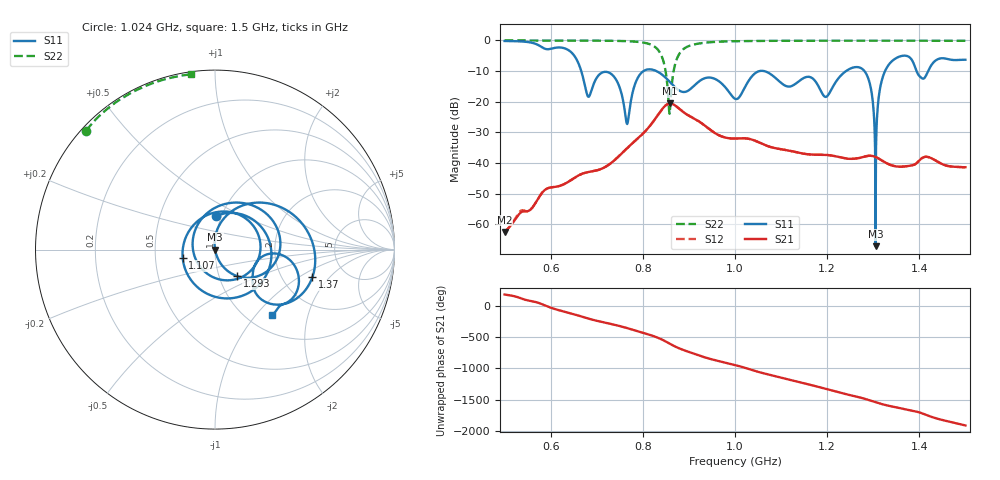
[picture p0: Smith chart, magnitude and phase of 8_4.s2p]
! TOUCHSTONE file generated by CST MICROWAVE STUDIO
! Date and time: Sat Nov 14 19:59:23 2020
! Project name: Scenario_1_Planar_Body_Tissue_Out_of_Line.cst
! Parameters = {dy1=224.9; L_HA=400; Ltissue=700; MT=2.54; Rad_Dielectric=30; Rad_Lower=7.3; Rad_Upper=30; Wtissue=700; a_HA=580; a_WG=246; b_HA=500; b_WG=121; c_HA=0; c_WG=187; d_feed=85; dx1=693; h_feed=15; h_lower=18; h_upper=40; hfat=3; hgap=25; hmuscle=50; hskin=1.5}
! Header version: 2018
! Port assignment regex: !\s*Touchstone port\s*([0-9]+)\s*=\s*(CST MWS port|CST DS port)\s*([0-9]+|Zmin|Zmax)\s*\(\"(.*)\"\)(\s*mode\s*([0-9]+))?.*
! Touchstone port assignment:
! Touchstone port 1 = CST MWS port 1 ("")
! Touchstone port 2 = CST MWS port 2 ("")
# GHz S DB R 50
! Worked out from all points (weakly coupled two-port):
!   1003 points, 500 MHz to 1.5 GHz, reference 50 ohm
!   highest |S21| = -20.58 dB at 859 MHz (marker M1); lowest = -62.5 dB at 500 MHz (marker M2)
!   lowest |S11| = -67.1 dB at 1.305 GHz (marker M3), VSWR 1.00, Z = 50 + j0.0297 ohm
!   |S11| at or under -10 dB: 666.3 MHz to 801.4 MHz (135.1 MHz wide, 18.4 % of centre); 829.4 MHz to 1.053 GHz (223.8 MHz wide, 23.8 % of centre); 1.063 GHz to 1.241 GHz (177.8 MHz wide, 15.4 % of centre) (the widest 3 of 5)
!   |S22| runs from -23.9 to 0.0 dB; largest |S21 - S12| = 0.00011
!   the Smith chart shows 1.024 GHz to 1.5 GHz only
!   S11 on the Smith chart (normalised r, x): 1.024 GHz: 0.94, +0.36; 1.107 GHz: 0.69, -0.07; 1.293 GHz: 1.22, -0.37; 1.37 GHz: 2.93, -1.32; 1.5 GHz: 1.28, -1.22
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0.5  -0.18 -121.6  -62.49 177.6  -62.49 177.6  -0.01 151.2
0.621  -2.31 173.6  -47.40 -78.5  -47.40 -78.5  -0.02 142.5
0.667  -10.34 110.6  -43.59 -173.8  -43.59 -173.8  -0.04 138.4
0.682  -18.40 144.7  -42.95 153.3  -42.95 153.3  -0.05 136.9
0.734  -11.28 117.6  -39.66 62.9  -39.66 62.9  -0.12 130.3
0.766  -27.28 -33.8  -35.11 2.0  -35.11 2.0  -0.24 124.1
0.792  -11.46 179.7  -31.57 -54.4  -31.57 -54.4  -0.51 116.2
0.834  -10.37 66.8  -24.05 -156.0  -24.05 -156.0  -3.28 83.9
0.859  -13.61 -3.5  -20.58 110.7  -20.58 110.7  -22.43 -82.5
0.888  -16.83 -106.5  -23.39 12.7  -23.39 12.7  -2.84 177.8
1  -19.04 -152.7  -32.01 133.7  -32.00 133.7  -0.26 140.2
1.024  -14.59 88.9  -31.98 82.9  -31.98 82.9  -0.21 137.2
1.055  -9.95 -11.9  -33.47 14.3  -33.47 14.4  -0.16 133.9
1.107  -14.61 -165.5  -35.66 -80.2  -35.67 -80.1  -0.12 129.1
1.167  -12.24 -16.0  -37.25 170.2  -37.25 170.1  -0.09 124.2
1.235  -10.70 63.9  -38.37 38.6  -38.37 38.6  -0.09 119.0
1.293  -14.34 -50.2  -37.64 -72.3  -37.64 -72.3  -0.09 114.6
1.305  -67.14 42.5  -38.03 -101.3  -38.03 -101.3  -0.09 113.7
1.316  -14.70 73.5  -38.92 -125.7  -38.92 -125.7  -0.09 112.9
1.334  -7.86 38.9  -40.41 -158.2  -40.41 -158.2  -0.09 111.5
1.37  -4.98 -15.8  -41.09 146.1  -41.09 146.1  -0.09 108.8
1.5  -6.30 -48.8  -41.37 -111.3  -41.37 -111.3  -0.13 98.0
